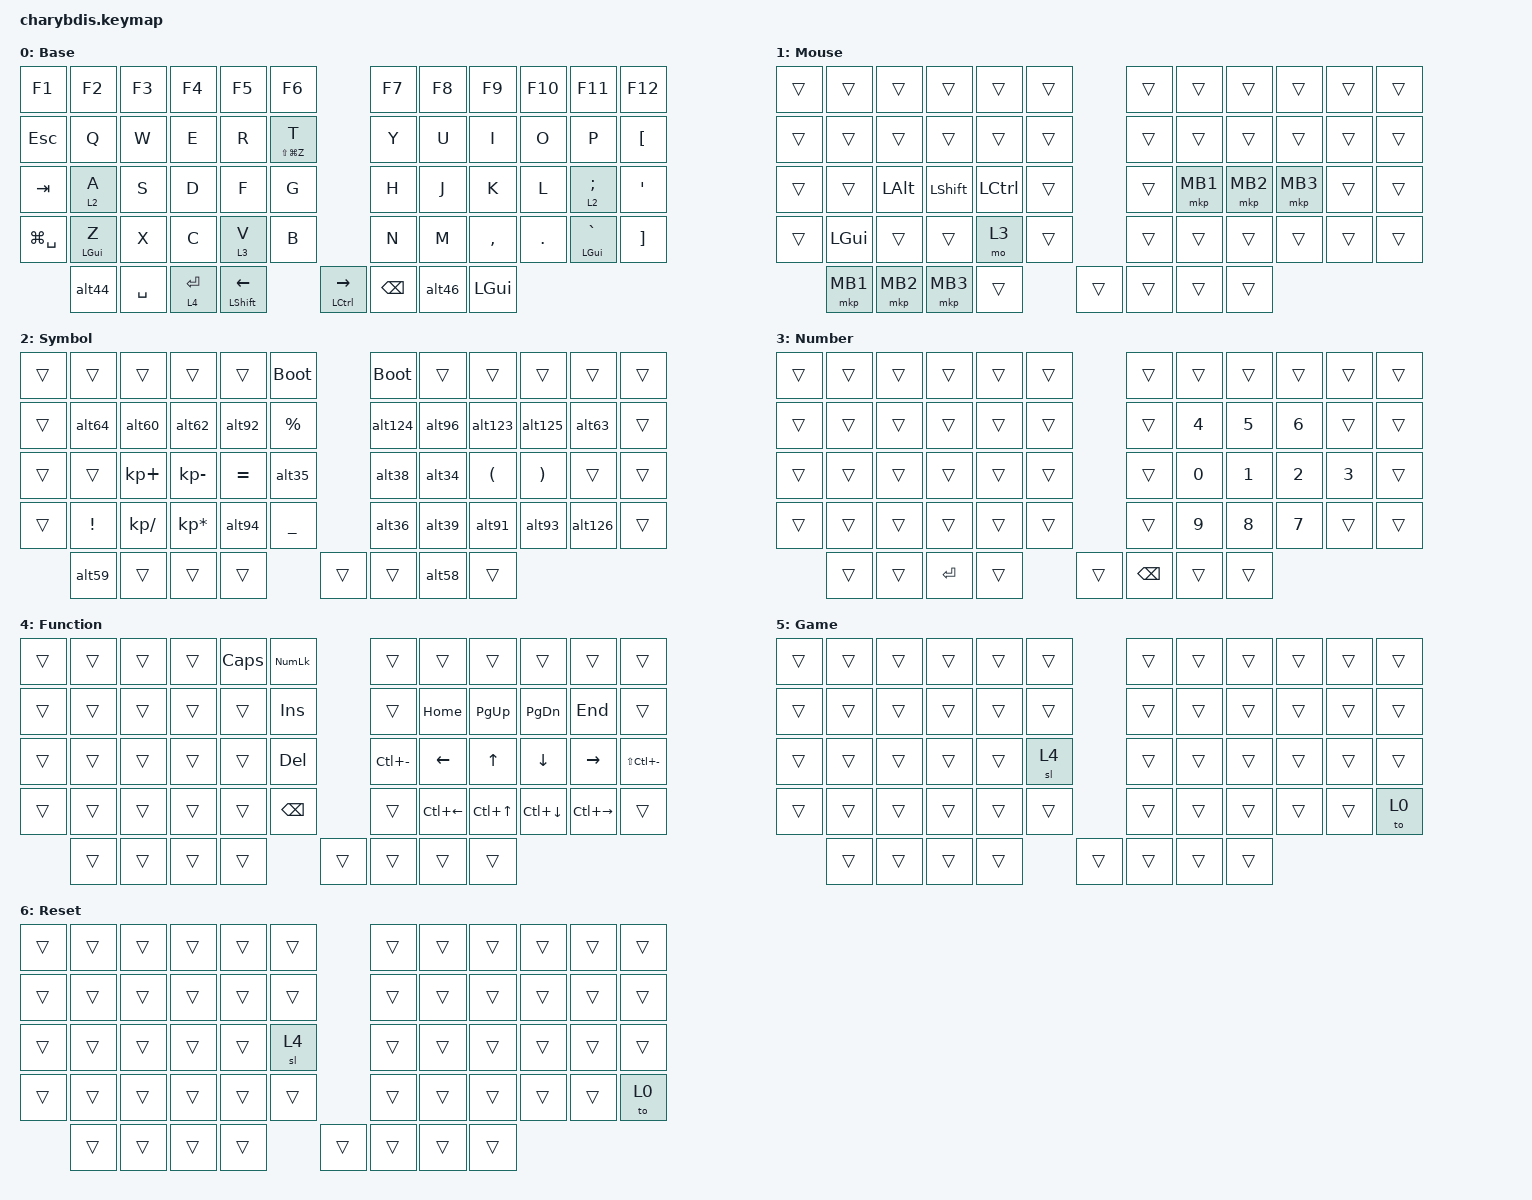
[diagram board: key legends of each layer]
#include <behaviors.dtsi>
#include <dt-bindings/zmk/keys.h>
#include <dt-bindings/zmk/pointing.h>

#define BASE 0
#define MOUSE 1
#define SYMBOL 2
#define NUMBER 3
#define FUNCTION 4
#define GAME 5
#define RESET 6

#define KEYS_L 0 1 2 3 4 10 11 12 13 14 20 21 22 23 24
#define KEYS_R 5 6 7 8 9 15 16 17 18 19 25 26 27 28 29
#define THUMBS 30 31 32 33 34 35 

&sk {
  release-after-ms = <600>;
  quick-release;
};

&sl {
  ignore-modifiers;
};

&mt {
  flavor = "tap-preferred";
};

&lt {
  flavor = "balanced";
  tapping-term-ms = <200>;
  quick-tap-ms = <175>;
};

&caps_word {
  /delete-property/ ignore-modifiers;
};

/ {
  behaviors {
    hml: hml {
      compatible = "zmk,behavior-hold-tap";
      #binding-cells = <2>;
      flavor = "balanced";
      tapping-term-ms = <2000>;
      quick-tap-ms = <175>;
      require-prior-idle-ms = <250>;
      hold-trigger-key-positions = <KEYS_R THUMBS>;
      hold-trigger-on-release;
      bindings =
        <&kp>,
        <&kp>;
    };

    hmr: hmr {
      compatible = "zmk,behavior-hold-tap";
      #binding-cells = <2>;
      flavor = "balanced";
      tapping-term-ms = <2000>;
      quick-tap-ms = <175>;
      require-prior-idle-ms = <250>;
      hold-trigger-key-positions = <KEYS_L THUMBS>;
      hold-trigger-on-release;
      bindings =
        <&kp>,
        <&kp>;
    };
    hml_s: hml_s {
      compatible = "zmk,behavior-hold-tap";
      #binding-cells = <2>;
      flavor = "balanced";
      tapping-term-ms = <2000>;
      quick-tap-ms = <175>;
      require-prior-idle-ms = <0>;
      hold-trigger-key-positions = <KEYS_R THUMBS>;
      hold-trigger-on-release;
      bindings =
        <&kp>,
        <&kp>;
    };

    hmr_s: hmr_s {
      compatible = "zmk,behavior-hold-tap";
      #binding-cells = <2>;
      flavor = "balanced";
      tapping-term-ms = <2000>;
      quick-tap-ms = <175>;
      require-prior-idle-ms = <0>;
      hold-trigger-key-positions = <KEYS_L THUMBS>;
      hold-trigger-on-release;
      bindings =
        <&kp>,
        <&kp>;
    };


    smart_shift: smart_shift {
      compatible = "zmk,behavior-mod-morph";
      #binding-cells = <0>;
      bindings = <&sk LSHIFT>, <&caps_word>;
      mods = <(MOD_LSFT)>;
    };
  };
  macros {
    alt64: alt64 {
      compatible = "zmk,behavior-macro";
      #binding-cells = <0>;
      bindings
        = <&macro_press &kp LALT>
        , <&macro_tap &kp KP_N6>
        , <&macro_tap &kp KP_N4>
        , <&macro_release &kp LALT>
        ;
    };

    alt35: alt35 {
      compatible = "zmk,behavior-macro";
      #binding-cells = <0>;
      bindings
        = <&macro_press &kp LALT>
        , <&macro_tap &kp KP_N3>
        , <&macro_tap &kp KP_N5>
        , <&macro_release &kp LALT>
        ;
    };

    alt36: alt36 {
      compatible = "zmk,behavior-macro";
      #binding-cells = <0>;
      bindings
        = <&macro_press &kp LALT>
        , <&macro_tap &kp KP_N3>
        , <&macro_tap &kp KP_N6>
        , <&macro_release &kp LALT>
        ;
    };

    alt94: alt94 {
      compatible = "zmk,behavior-macro";
      #binding-cells = <0>;
      bindings
        = <&macro_press &kp LALT>
        , <&macro_tap &kp KP_N9>
        , <&macro_tap &kp KP_N4>
        , <&macro_release &kp LALT>
        ;
    };
    
    alt38: alt38 {
      compatible = "zmk,behavior-macro";
      #binding-cells = <0>;
      bindings
        = <&macro_press &kp LALT>
        , <&macro_tap &kp KP_N3>
        , <&macro_tap &kp KP_N8>
        , <&macro_release &kp LALT>
        ;
    };
    
    alt59: alt59 {
      compatible = "zmk,behavior-macro";
      #binding-cells = <0>;
      bindings
        = <&macro_press &kp LALT>
        , <&macro_tap &kp KP_N5>
        , <&macro_tap &kp KP_N9>
        , <&macro_release &kp LALT>
        ;
    };
    
    alt58: alt58 {
      compatible = "zmk,behavior-macro";
      #binding-cells = <0>;
      bindings
        = <&macro_press &kp LALT>
        , <&macro_tap &kp KP_N5>
        , <&macro_tap &kp KP_N8>
        , <&macro_release &kp LALT>
        ;
    };
    
    alt34: alt34 {
      compatible = "zmk,behavior-macro";
      #binding-cells = <0>;
      bindings
        = <&macro_press &kp LALT>
        , <&macro_tap &kp KP_N3>
        , <&macro_tap &kp KP_N4>
        , <&macro_release &kp LALT>
        ;
    };
    
    alt124: alt124 {
      compatible = "zmk,behavior-macro";
      #binding-cells = <0>;
      bindings
        = <&macro_press &kp LALT>
        , <&macro_tap &kp KP_N1>
        , <&macro_tap &kp KP_N2>
        , <&macro_tap &kp KP_N4>
        , <&macro_release &kp LALT>
        ;
    };
    
    alt126: alt126 {
      compatible = "zmk,behavior-macro";
      #binding-cells = <0>;
      bindings
        = <&macro_press &kp LALT>
        , <&macro_tap &kp KP_N1>
        , <&macro_tap &kp KP_N2>
        , <&macro_tap &kp KP_N6>
        , <&macro_release &kp LALT>
        ;
    };
    
    alt92: alt92 {
      compatible = "zmk,behavior-macro";
      #binding-cells = <0>;
      bindings
        = <&macro_press &kp LALT>
        , <&macro_tap &kp KP_N9>
        , <&macro_tap &kp KP_N2>
        , <&macro_release &kp LALT>
        ;
    };
    
    alt44: alt44 {
      compatible = "zmk,behavior-macro";
      #binding-cells = <0>;
      bindings
        = <&macro_press &kp LALT>
        , <&macro_tap &kp KP_N4>
        , <&macro_tap &kp KP_N4>
        , <&macro_release &kp LALT>
        ;
    };
    
    alt46: alt46 {
      compatible = "zmk,behavior-macro";
      #binding-cells = <0>;
      bindings
        = <&macro_press &kp LALT>
        , <&macro_tap &kp KP_N4>
        , <&macro_tap &kp KP_N6>
        , <&macro_release &kp LALT>
        ;
    };
    
    alt39: alt39 {
      compatible = "zmk,behavior-macro";
      #binding-cells = <0>;
      bindings
        = <&macro_press &kp LALT>
        , <&macro_tap &kp KP_N3>
        , <&macro_tap &kp KP_N9>
        , <&macro_release &kp LALT>
        ;
    };
    
    alt63: alt63 {
      compatible = "zmk,behavior-macro";
      #binding-cells = <0>;
      bindings
        = <&macro_press &kp LALT>
        , <&macro_tap &kp KP_N6>
        , <&macro_tap &kp KP_N3>
        , <&macro_release &kp LALT>
        ;
    };
    
    alt91: alt91 {
      compatible = "zmk,behavior-macro";
      #binding-cells = <0>;
      bindings
        = <&macro_press &kp LALT>
        , <&macro_tap &kp KP_N9>
        , <&macro_tap &kp KP_N1>
        , <&macro_release &kp LALT>
        ;
    };
    
    alt93: alt93 {
      compatible = "zmk,behavior-macro";
      #binding-cells = <0>;
      bindings
        = <&macro_press &kp LALT>
        , <&macro_tap &kp KP_N9>
        , <&macro_tap &kp KP_N3>
        , <&macro_release &kp LALT>
        ;
    };
    
    alt123: alt123 {
      compatible = "zmk,behavior-macro";
      #binding-cells = <0>;
      bindings
        = <&macro_press &kp LALT>
        , <&macro_tap &kp KP_N1>
        , <&macro_tap &kp KP_N2>
        , <&macro_tap &kp KP_N3>
        , <&macro_release &kp LALT>
        ;
    };
    
    alt60: alt60 {
      compatible = "zmk,behavior-macro";
      #binding-cells = <0>;
      bindings
        = <&macro_press &kp LALT>
        , <&macro_tap &kp KP_N6>
        , <&macro_tap &kp KP_N0>
        , <&macro_release &kp LALT>
        ;
    };
    
    alt62: alt62 {
      compatible = "zmk,behavior-macro";
      #binding-cells = <0>;
      bindings
        = <&macro_press &kp LALT>
        , <&macro_tap &kp KP_N6>
        , <&macro_tap &kp KP_N2>
        , <&macro_release &kp LALT>
        ;
    };
    
    alt125: alt125 {
      compatible = "zmk,behavior-macro";
      #binding-cells = <0>;
      bindings
        = <&macro_press &kp LALT>
        , <&macro_tap &kp KP_N1>
        , <&macro_tap &kp KP_N2>
        , <&macro_tap &kp KP_N5>
        , <&macro_release &kp LALT>
        ;
    };

    alt96: alt96 {
      compatible = "zmk,behavior-macro";
      #binding-cells = <0>;
      bindings
        = <&macro_press &kp LALT>
        , <&macro_tap &kp KP_N9>
        , <&macro_tap &kp KP_N6>
        , <&macro_release &kp LALT>
        ;
    };

    alt252: alt252 {
      compatible = "zmk,behavior-macro";
      #binding-cells = <0>;
      bindings
        = <&macro_press &kp LALT>
        , <&macro_tap &kp KP_N2>
        , <&macro_tap &kp KP_N5>
        , <&macro_tap &kp KP_N2>
        , <&macro_release &kp LALT>
        ;
    };
  };

  combos {
    compatible = "zmk,combos";
    timeout-ms = <20>;
    require-prior-idle-ms = <250>;

    combo_reset_layer_left {
      key-positions = <20 24>;
      bindings = <&to RESET>;
    };
    combo_reset_layer_right {
      key-positions = <25 29>;
      bindings = <&to RESET>;
    };
    combo_reset_central {
      key-positions = <32 33>;
      bindings = <&bootloader>;
      require-prior-idle-ms = <2000>;
    };
    combo_normal {
      key-positions = <7 8>;
      bindings = <&to BASE>;
    };
    combo_fn {
      key-positions = <27 28>;
      bindings = <&sl FUNCTION>;
    };
    combo_genshin {
      key-positions = <5 9>;
      bindings = <&to GAME>;
    };
    combo_cdel {
      key-positions = <11 12>;
      bindings = <&kp LC(BACKSPACE)>;
    };
    combo_unlock {
      key-positions = <0 4>;
      bindings = <&studio_unlock>;
    };
  };
  chosen {
    zmk,physical-layout = &charybdis_6col_layout;
  };

  keymap {
    compatible = "zmk,keymap";

    Base {
        label = "Base";
        display-name = "Base";
        bindings = <
        // ╭─────────────┬─────────────┬─────────────┬─────────────┬─────────────┬─────────────╮   ╭─────────────┬─────────────┬─────────────┬─────────────┬─────────────┬────────────────╮
               &kp F1       &kp F2         &kp F3        &kp F4        &kp F5        &kp F6             &kp F7        &kp F8        &kp F9        &kp F10       &kp F11       &kp F12
        // ├─────────────┼─────────────┼─────────────┼─────────────┼─────────────┼─────────────┤   ├─────────────┼─────────────┼─────────────┼─────────────┼─────────────┼─────────────────┤
               &kp ESC       &kp Q          &kp W         &kp E         &kp R    &mt LS(LG(Z)) T        &kp Y         &kp U         &kp I         &kp O         &kp P      &kp LEFT_BRACKET
        // ├─────────────┼─────────────┼─────────────┼─────────────┼─────────────┼─────────────┤   ├─────────────┼─────────────┼─────────────┼─────────────┼─────────────┼─────────────────┤
               &kp TAB       &lt 2 A        &kp S         &kp D         &kp F         &kp G             &kp H         &kp J         &kp K         &kp L     &lt 2 SEMI      &kp APOS
        // ├─────────────┼─────────────┼─────────────┼─────────────┼─────────────┼─────────────┤   ├─────────────┼─────────────┼─────────────┼─────────────┼─────────────┼─────────────────┤
            &kp LG(SPACE)  &mt LGUI Z       &kp X         &kp C         &lt 3 V       &kp B             &kp N         &kp M      &kp COMMA      &kp DOT     &mt LGUI GRAVE  &kp RIGHT_BRACKET
        // ╰─────────────┴─────────────┼─────────────┼─────────────┼─────────────┼─────────────┤   ├─────────────┼─────────────┼─────────────┼─────────────┼─────────────┴─────────────────╯
                                   &alt44   &kp SPACE    &lt 4 RET &mt LSHFT LEFT &mt LCTRL RIGHT       &kp BSPC     &alt46       &kp LGUI
        //                                           ╰─────────────┤─────────────┤─────────────┤   ├─────────────┼─────────────╯
        >;
    };

    Mouse {
      label = "Mouse";
      display-name = "Mouse";
      bindings = <
        &trans   &trans   &trans   &trans    &trans    &trans            &trans &trans   &trans   &trans   &trans     &trans
        &trans   &trans   &trans   &trans    &trans    &trans            &trans &trans   &trans   &trans   &trans     &trans 
        &trans   &trans &kp LALT &kp LSHFT &kp LCTRL &trans            &trans &mkp MB1 &mkp MB2 &mkp MB3 &trans     &trans
        &trans   &kp LGUI   &trans   &trans    &mo 3    &trans            &trans &trans   &trans   &trans   &trans     &trans
                &mkp MB1  &mkp MB2  &mkp MB3 &trans    &trans            &trans &trans   &trans                  
      >;
    };

    Sym {
      label = "Symbol";
      display-name = "Symbol";
      bindings = <
      // ╭─────────────┬─────────────┬─────────────┬─────────────┬─────────────┬─────────────╮   ╭─────────────┬─────────────┬─────────────┬─────────────┬─────────────┬─────────────╮
             &trans        &trans         &trans       &trans         &trans      &bootloader      &bootloader         &trans         &trans        &trans        &trans        &trans
      // ├─────────────┼─────────────┼─────────────┼─────────────┼─────────────┼─────────────┤   ├─────────────┼─────────────┼─────────────┼─────────────┼─────────────┼─────────────┤
             &trans        &alt64         &alt60       &alt62         &alt92       &kp PRCNT         &alt124         &alt96         &alt123        &alt125        &alt63        &trans
      // ├─────────────┼─────────────┼─────────────┼─────────────┼─────────────┼─────────────┤   ├─────────────┼─────────────┼─────────────┼─────────────┼─────────────┼─────────────┤
             &trans        &trans      &kp KP_PLUS   &kp KP_MINUS    &kp EQUAL     &alt35           &alt38         &alt34       &kp LPAR      &kp RPAR        &trans        &trans
      // ├─────────────┼─────────────┼─────────────┼─────────────┼─────────────┼─────────────┤   ├─────────────┼─────────────┼─────────────┼─────────────┼─────────────┼─────────────┤
             &trans        &kp EXCL    &kp KP_SLASH &kp KP_ASTERISK   &alt94      &kp UNDER           &alt36         &alt39         &alt91        &alt93        &alt126        &trans
      // ╰─────────────┴─────────────┼─────────────┼─────────────┼─────────────┼─────────────┤   ├─────────────┼─────────────┼─────────────┼─────────────┼─────────────┴─────────────╯
                           &alt59        &trans         &trans        &trans       &trans            &trans        &alt58        &trans
      //                                           ╰─────────────┤─────────────┤─────────────┤   ├─────────────┼─────────────╯
      >;
    };

    Num {
      label = "Number";
      display-name = "Number";
      bindings = <
      // ╭─────────────┬─────────────┬─────────────┬─────────────┬─────────────┬─────────────╮   ╭─────────────┬─────────────┬─────────────┬─────────────┬─────────────┬─────────────╮
             &trans        &trans         &trans       &trans         &trans       &trans           &trans         &trans         &trans        &trans        &trans        &trans
      // ├─────────────┼─────────────┼─────────────┼─────────────┼─────────────┼─────────────┤   ├─────────────┼─────────────┼─────────────┼─────────────┼─────────────┼─────────────┤
             &trans        &trans         &trans       &trans         &trans       &trans           &trans         &kp N4         &kp N5        &kp N6        &trans        &trans
      // ├─────────────┼─────────────┼─────────────┼─────────────┼─────────────┼─────────────┤   ├─────────────┼─────────────┼─────────────┼─────────────┼─────────────┼─────────────┤
             &trans        &trans         &trans       &trans         &trans       &trans           &trans         &kp N0         &kp N1        &kp N2        &kp N3        &trans
      // ├─────────────┼─────────────┼─────────────┼─────────────┼─────────────┼─────────────┤   ├─────────────┼─────────────┼─────────────┼─────────────┼─────────────┼─────────────┤
             &trans        &trans         &trans       &trans         &trans       &trans           &trans         &kp N9         &kp N8        &kp N7        &trans        &trans
      // ╰─────────────┴─────────────┼─────────────┼─────────────┼─────────────┼─────────────┤   ├─────────────┼─────────────┼─────────────┼─────────────┼─────────────┴─────────────╯
                           &trans        &trans         &kp RET        &trans      &trans           &kp BSPC       &trans         &trans
      //                                           ╰─────────────┤─────────────┤─────────────┤   ├─────────────┼─────────────╯
      >;
    };

    Fun {
      label = "Function";
      display-name = "Function";
      bindings = <
      // ╭─────────────┬─────────────┬─────────────┬─────────────┬─────────────┬─────────────╮   ╭─────────────┬─────────────┬─────────────┬─────────────┬─────────────┬─────────────╮
             &trans        &trans         &trans       &trans        &kp CAPS     &kp KP_NUM           &trans         &trans         &trans        &trans        &trans        &trans
      // ├─────────────┼─────────────┼─────────────┼─────────────┼─────────────┼─────────────┤   ├─────────────┼─────────────┼─────────────┼─────────────┼─────────────┼─────────────┤
             &trans        &trans         &trans       &trans         &trans       &kp INS           &trans         &kp HOME      &kp PG_UP     &kp PG_DN     &kp END       &trans
      // ├─────────────┼─────────────┼─────────────┼─────────────┼─────────────┼─────────────┤   ├─────────────┼─────────────┼─────────────┼─────────────┼─────────────┼─────────────┤
             &trans        &trans         &trans       &trans         &trans       &kp DEL         &kp LC(MINUS)   &kp LEFT       &kp UP       &kp DOWN     &kp RIGHT  &kp LS(LC(MINUS))
      // ├─────────────┼─────────────┼─────────────┼─────────────┼─────────────┼─────────────┤   ├─────────────┼─────────────┼─────────────┼─────────────┼─────────────┼─────────────┤
             &trans        &trans         &trans       &trans         &trans       &kp BSPC           &trans       &kp LC(LEFT)  &kp LC(UP)   &kp LC(DOWN)  &kp LC(RIGHT)     &trans
      // ╰─────────────┴─────────────┼─────────────┼─────────────┼─────────────┼─────────────┤   ├─────────────┼─────────────┼─────────────┼─────────────┼─────────────┴─────────────╯
                           &trans        &trans         &trans        &trans       &trans            &trans        &trans        &trans
      //                                           ╰─────────────┤─────────────┤─────────────┤   ├─────────────┼─────────────╯
      >;
    };

    Button {
      label = "Game";
      display-name = "Game";
      bindings = <
      // ╭─────────────┬─────────────┬─────────────┬─────────────┬─────────────┬─────────────╮   ╭─────────────┬─────────────┬─────────────┬─────────────┬─────────────┬─────────────╮
             &trans        &trans         &trans       &trans         &trans       &trans           &trans         &trans         &trans        &trans        &trans        &trans
      // ├─────────────┼─────────────┼─────────────┼─────────────┼─────────────┼─────────────┤   ├─────────────┼─────────────┼─────────────┼─────────────┼─────────────┼─────────────┤
             &trans        &trans         &trans       &trans         &trans       &trans           &trans         &trans         &trans        &trans        &trans        &trans
      // ├─────────────┼─────────────┼─────────────┼─────────────┼─────────────┼─────────────┤   ├─────────────┼─────────────┼─────────────┼─────────────┼─────────────┼─────────────┤
             &trans        &trans         &trans       &trans         &trans        &sl 4           &trans         &trans         &trans        &trans        &trans        &trans
      // ├─────────────┼─────────────┼─────────────┼─────────────┼─────────────┼─────────────┤   ├─────────────┼─────────────┼─────────────┼─────────────┼─────────────┼─────────────┤
             &trans        &trans         &trans       &trans         &trans       &trans           &trans         &trans         &trans        &trans        &trans        &to 0
      // ╰─────────────┴─────────────┼─────────────┼─────────────┼─────────────┼─────────────┤   ├─────────────┼─────────────┼─────────────┼─────────────┼─────────────┴─────────────╯
                           &trans        &trans         &trans        &trans       &trans            &trans        &trans        &trans
      //                                           ╰─────────────┤─────────────┤─────────────┤   ├─────────────┼─────────────╯
      >;
    };

    Reset {
      label = "Reset";
      display-name = "Reset";
      bindings = <
      // ╭─────────────┬─────────────┬─────────────┬─────────────┬─────────────┬─────────────╮   ╭─────────────┬─────────────┬─────────────┬─────────────┬─────────────┬─────────────╮
             &trans        &trans         &trans       &trans         &trans       &trans           &trans         &trans         &trans        &trans        &trans        &trans
      // ├─────────────┼─────────────┼─────────────┼─────────────┼─────────────┼─────────────┤   ├─────────────┼─────────────┼─────────────┼─────────────┼─────────────┼─────────────┤
             &trans        &trans         &trans       &trans         &trans       &trans           &trans         &trans         &trans        &trans        &trans        &trans
      // ├─────────────┼─────────────┼─────────────┼─────────────┼─────────────┼─────────────┤   ├─────────────┼─────────────┼─────────────┼─────────────┼─────────────┼─────────────┤
             &trans        &trans         &trans       &trans         &trans        &sl 4           &trans         &trans         &trans        &trans        &trans        &trans
      // ├─────────────┼─────────────┼─────────────┼─────────────┼─────────────┼─────────────┤   ├─────────────┼─────────────┼─────────────┼─────────────┼─────────────┼─────────────┤
             &trans        &trans         &trans       &trans         &trans       &trans           &trans         &trans         &trans        &trans        &trans        &to 0
      // ╰─────────────┴─────────────┼─────────────┼─────────────┼─────────────┼─────────────┤   ├─────────────┼─────────────┼─────────────┼─────────────┼─────────────┴─────────────╯
                           &trans        &trans         &trans        &trans       &trans            &trans        &trans        &trans
      //                                           ╰─────────────┤─────────────┤─────────────┤   ├─────────────┼─────────────╯
      >;
    };
  };
};


